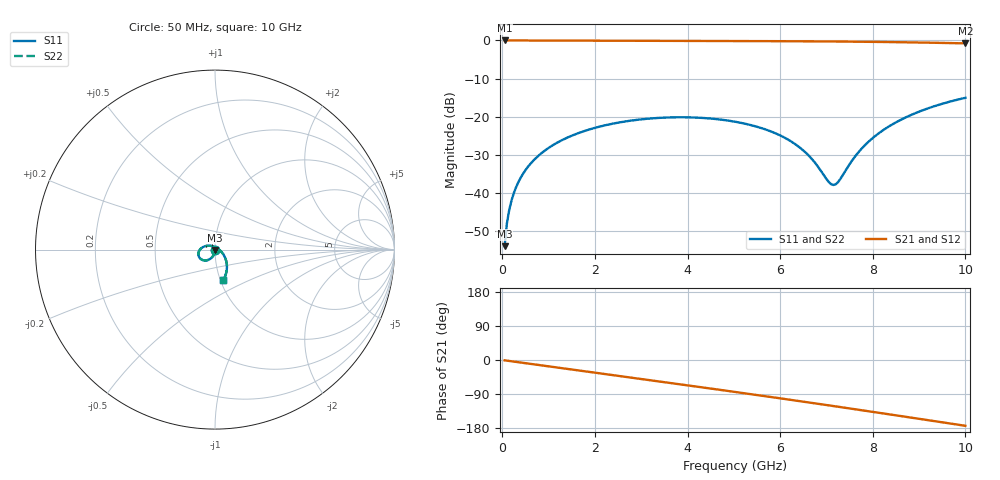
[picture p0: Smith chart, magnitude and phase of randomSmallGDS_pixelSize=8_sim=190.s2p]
! freq	dB(S11)	phase(S11)	dB(S12)	phase(S12)
!  dB(S21)	phase(S21)	dB(S22)	phase(S22)
!S-par simulation data
#  GHz  S  DB  R 50
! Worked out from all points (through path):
!   200 points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, 50 MHz to 10 GHz, reference 50 ohm
!   highest |S21| = 0.00 dB at 50 MHz (marker M1); lowest = -0.8 dB at 10 GHz (marker M2)
!   group delay of S21, straight-line fit = 48 ps
!   lowest |S11| = -54.0 dB at 50 MHz (marker M3), VSWR 1.00, Z = 50 - j0.199 ohm
!   |S11| at or under -10 dB: start of sweep to end of sweep
!   |S22| runs from -54.0 to -15.1 dB; largest |S21 - S12| = 0
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0.05  -54.04 -90.4  -0.00 -0.9  -0.00 -0.9  -54.04 -90.4
0.1  -48.02 -91.6  -0.01 -1.7  -0.01 -1.7  -48.02 -91.6
0.15  -44.50 -92.6  -0.01 -2.5  -0.01 -2.5  -44.50 -92.6
0.2  -42.00 -93.6  -0.01 -3.4  -0.01 -3.4  -42.00 -93.6
0.35  -37.15 -96.3  -0.01 -5.9  -0.01 -5.9  -37.15 -96.3
0.5  -34.07 -99.0  -0.01 -8.4  -0.01 -8.4  -34.07 -99.0
0.7  -31.20 -102.5  -0.02 -11.7  -0.02 -11.7  -31.20 -102.5
1  -28.23 -107.7  -0.02 -16.8  -0.02 -16.8  -28.23 -107.7
1.75  -23.88 -120.6  -0.05 -29.3  -0.05 -29.3  -23.88 -120.6
2.5  -21.59 -133.4  -0.08 -41.8  -0.08 -41.8  -21.59 -133.3
3.4  -20.33 -148.8  -0.11 -56.8  -0.11 -56.8  -20.33 -148.8
4.25  -20.30 -163.9  -0.13 -71.1  -0.13 -71.1  -20.30 -163.9
5.05  -21.40 -179.0  -0.16 -84.7  -0.16 -84.7  -21.40 -179.0
6.05  -25.25 158.5  -0.20 -102.0  -0.20 -102.0  -25.25 158.6
6.4  -27.90 147.4  -0.22 -108.1  -0.22 -108.1  -27.90 147.5
6.7  -31.36 132.5  -0.24 -113.5  -0.24 -113.5  -31.37 132.7
7.05  -37.19 88.1  -0.26 -119.7  -0.26 -119.7  -37.24 88.3
7.2  -37.78 49.4  -0.28 -122.4  -0.28 -122.4  -37.84 49.3
7.75  -28.54 -18.8  -0.34 -132.3  -0.34 -132.3  -28.55 -19.0
8.35  -22.58 -39.6  -0.42 -143.3  -0.42 -143.3  -22.58 -39.8
9.1  -18.24 -57.1  -0.56 -157.0  -0.56 -157.0  -18.24 -57.2
10  -15.07 -75.2  -0.77 -173.6  -0.77 -173.6  -15.07 -75.2
